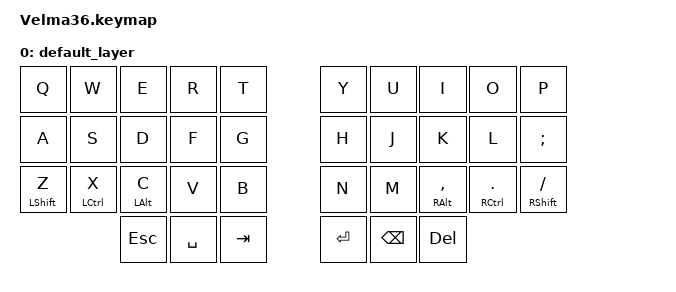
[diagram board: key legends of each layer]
#include <behaviors.dtsi>
#include <dt-bindings/zmk/keys.h>
#include <dt-bindings/zmk/bt.h>

/ {
    keymap {
        compatible = "zmk,keymap";

        default_layer {
            bindings = <
                &kp Q       &kp W       &kp E      &kp R    &kp T       &kp Y      &kp U       &kp I          &kp O         &kp P
                &kp A       &kp S       &kp D      &kp F    &kp G       &kp H      &kp J       &kp K          &kp L         &kp SEMI
                &mt LSHFT Z &mt LCTRL X &mt LALT C &kp V    &kp B       &kp N      &kp M       &mt RALT COMMA &mt RCTRL DOT &mt RSHFT SLASH
                                        &kp ESC   &kp SPACE &kp TAB     &kp ENTER  &kp BSPC    &kp DEL
            >;
        }
    };
};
